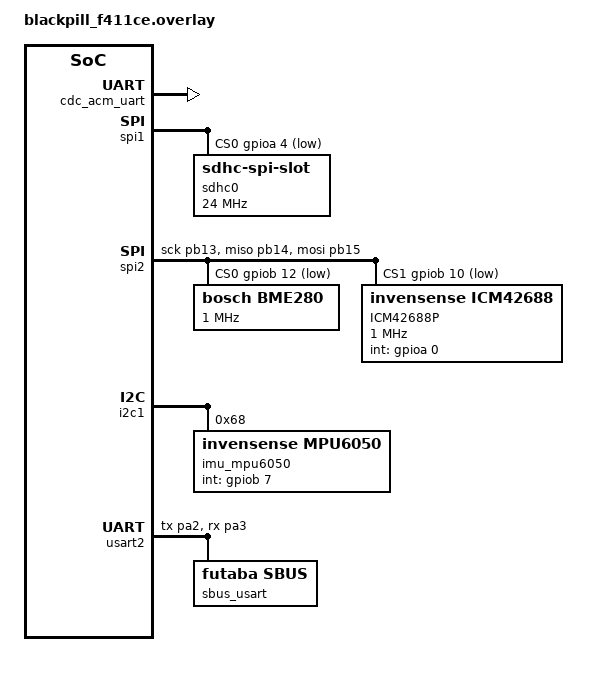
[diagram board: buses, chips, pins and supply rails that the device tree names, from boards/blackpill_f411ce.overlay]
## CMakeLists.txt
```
# This file is part of the efc project <https://github.com/eurus-project/efc/>.
# Copyright (c) (2024 - Present), The efc developers.
#
# This program is free software: you can redistribute it and/or modify
# it under the terms of the GNU General Public License as published by
# the Free Software Foundation, version 3.
#
# This program is distributed in the hope that it will be useful, but
# WITHOUT ANY WARRANTY; without even the implied warranty of
# MERCHANTABILITY or FITNESS FOR A PARTICULAR PURPOSE. See the GNU
# General Public License for more details.
#
# You should have received a copy of the GNU General Public License
# along with this program. If not, see <http://www.gnu.org/licenses/>.

cmake_minimum_required(VERSION 3.20.0)

find_package(Zephyr REQUIRED HINTS $ENV{ZEPHYR_BASE})
project(efc
    VERSION 0.1
    LANGUAGES C
)

target_sources(app
PRIVATE
    src/main.c
    src/radio_receiver.c
    src/telemetry_packer.c
    src/telemetry_sender.c
    src/logger.c
)

target_link_libraries(app
PRIVATE
    ulog
    mavlink
    autopilot
)
```

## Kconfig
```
mainmenu "Eurus Flight Controller"

config APP_DATA_LOGGING_SYNC_INTERVAL
	int "Data logging Sync interval [ms]"
	default 1000
	help
		This configures the interval at which the logging system flushes everything to disk
		and hence determines the maximum duration of data lost on power cuts.

choice APP_PRIMARY_IMU
	prompt "Primary IMU"
	default APP_PRIMARY_IMU_ICM42688P
	help
		This configures Eurus Flight Controller primary IMU.

config APP_PRIMARY_IMU_MPU6050
 	bool "MPU6050"

config APP_PRIMARY_IMU_ICM42688P
	bool "ICM42688P"

endchoice

# MIXER Unmanned aerial vehicle geometrical configuration
menu "Mixer configuration"
    choice
        prompt "Mixer UAV geometrical configuration"
        default MIXER_UAV_QUADROTOR_X

    config MIXER_UAV_QUADROTOR_X
        bool "UAV quadrotor 'X' configuration"

    config MIXER_UAV_QUADROTOR_CROSS
        bool "UAV quadrotor '+' configuration"

    config MIXER_UAV_HEXAROTOR_X
        bool "UAV hexarotor 'X' configuration"

    config MIXER_UAV_HEXAROTOR_CROSS
        bool "UAV hexarotor '+' configuration"

    endchoice
endmenu

# ESC Protocol configuration
menu "ESC Configuration"    
    choice
        prompt "ESC Protocol Selection"
        default ESC_PWM

    config ESC_PWM
        bool "ESC PWM protocol"

    config ESC_ONESHOT_125
        bool "ESC Oneshot125 protocol"

    config ESC_ONESHOT_42
        bool "ESC Oneshot42 protocol"

    config ESC_MULTISHOT
        bool "ESC Multishot protocol"

    endchoice
endmenu

source "../efc/libs/motor_control/esc/Kconfig"

source "../efc/libs/motor_control/mixer/Kconfig"

source "Kconfig.zephyr"
```

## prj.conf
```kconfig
# 
# This file is part of the efc project <https://github.com/eurus-project/efc/>.
# Copyright (c) (2024 - Present), The efc developers.
# 
# This program is free software: you can redistribute it and/or modify
# it under the terms of the GNU General Public License as published by
# the Free Software Foundation, version 3.
# 
# This program is distributed in the hope that it will be useful, but
# WITHOUT ANY WARRANTY; without even the implied warranty of
# MERCHANTABILITY or FITNESS FOR A PARTICULAR PURPOSE. See the GNU
# General Public License for more details.
# 
# You should have received a copy of the GNU General Public License
# along with this program. If not, see <http://www.gnu.org/licenses/>.
#

CONFIG_GPIO=y
CONFIG_SERIAL=y
CONFIG_CONSOLE=y
CONFIG_USB_DEVICE_STACK=y
CONFIG_SPI=y
CONFIG_I2C=y

CONFIG_DEBUG=y

CONFIG_STM32_FLASH_PREFETCH=y
CONFIG_FPU=y

CONFIG_SENSOR=y

CONFIG_DISK_ACCESS=y
CONFIG_DISK_DRIVERS=y
CONFIG_DISK_DRIVER_SDMMC=y

CONFIG_FILE_SYSTEM=y
CONFIG_FILE_SYSTEM_SHELL=y
CONFIG_FILE_SYSTEM_LITTLEFS=y

CONFIG_FS_LITTLEFS_BLK_DEV=y
CONFIG_FS_LITTLEFS_FMP_DEV=n
CONFIG_FS_LITTLEFS_FC_HEAP_SIZE=8192
CONFIG_FS_LITTLEFS_READ_SIZE=512
CONFIG_FS_LITTLEFS_PROG_SIZE=512
CONFIG_FS_LITTLEFS_CACHE_SIZE=512
CONFIG_FS_LITTLEFS_LOOKAHEAD_SIZE=2048
CONFIG_FS_LITTLEFS_BLOCK_CYCLES=-1

CONFIG_MAIN_STACK_SIZE=4096

CONFIG_LOG=y
CONFIG_DEBUG_COREDUMP=y
CONFIG_DEBUG_COREDUMP_BACKEND_LOGGING=y

CONFIG_CBPRINTF_FP_SUPPORT=y

CONFIG_INPUT=y

CONFIG_ZBUS=y

CONFIG_SHELL=y
CONFIG_SHELL_LOG_BACKEND=y

CONFIG_ICM4268X_TRIGGER_OWN_THREAD=y

CONFIG_FLASH=y
CONFIG_NVS=y

CONFIG_PWM=y
CONFIG_ESC=y
CONFIG_MIXER=y
```

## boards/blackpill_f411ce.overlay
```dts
/*
 * This file is part of the efc project <https://github.com/eurus-project/efc/>.
 * Copyright (c) (2024 - Present) The efc developers.
 *
 * This program is free software: you can redistribute it and/or modify
 * it under the terms of the GNU General Public License as published by
 * the Free Software Foundation, version 3.
 *
 * This program is distributed in the hope that it will be useful, but
 * WITHOUT ANY WARRANTY; without even the implied warranty of
 * MERCHANTABILITY or FITNESS FOR A PARTICULAR PURPOSE. See the GNU
 * General Public License for more details.
 *
 * You should have received a copy of the GNU General Public License
 * along with this program. If not, see <http://www.gnu.org/licenses/>.
 */

#include <zephyr/dt-bindings/sensor/icm42688.h>

/ {
	chosen {
		zephyr,console = &cdc_acm_uart;
		zephyr,shell-uart = &cdc_acm_uart;
		telemetry,ground = &usart1;
		futaba,sbus = &sbus_usart;
	};
};

&zephyr_udc0 {
	cdc_acm_uart: cdc_acm_uart0 {
		compatible = "zephyr,cdc-acm-uart";
	};
};

&spi1 {
    cs-gpios = <&gpioa 4 GPIO_ACTIVE_LOW>;

	sdhc0: sdhc@0 {
                compatible = "zephyr,sdhc-spi-slot";
                reg = <0>;
                status = "okay";
                mmc {
                    compatible = "zephyr,sdmmc-disk";
                    disk-name = "SD";
                    status = "okay";
                };
                spi-max-frequency = <24000000>;
        };
};

&spi2 {
    status = "okay";
    pinctrl-0 = <&spi2_sck_pb13 &spi2_miso_pb14 &spi2_mosi_pb15>;
    pinctrl-names = "default";
    cs-gpios = <&gpiob 12 (GPIO_ACTIVE_LOW | GPIO_PULL_UP)>,
               <&gpiob 10 (GPIO_ACTIVE_LOW | GPIO_PULL_UP)>;

    bme280@0 {
        compatible = "bosch,bme280";
        reg = <0>;
        spi-max-frequency = <1000000>;
    };

    imu_icm42688p: icm42688@1 {
        compatible = "invensense,icm42688";
        reg = <1>;
        status = "okay";
        label = "ICM42688P";
        spi-max-frequency = <1000000>;
        int-gpios = <&gpioa 0 GPIO_ACTIVE_HIGH>;
        accel-pwr-mode = <ICM42688_DT_ACCEL_LN>;
        accel-fs = <ICM42688_DT_ACCEL_FS_16>;
        accel-odr = <ICM42688_DT_ACCEL_ODR_50>;
        gyro-pwr-mode= <ICM42688_DT_GYRO_LN>;
        gyro-fs = <ICM42688_DT_GYRO_FS_2000>;
        gyro-odr = <ICM42688_DT_GYRO_ODR_50>;
	};
};

&i2c1 {
	imu_mpu6050: mpu6050@68 {
		compatible = "invensense,mpu6050";
		reg = <0x68>;
		status = "okay";
		int-gpios = <&gpiob 7 GPIO_ACTIVE_HIGH>;
	};
};

&usart2 {
    pinctrl-0 = <&usart2_tx_pa2 &usart2_rx_pa3>;
	pinctrl-names = "default";
	status = "okay";

    sbus_usart: sbus {
        compatible = "futaba,sbus";
        right_stick_x {
            channel = <1>;
            type = <INPUT_EV_ABS>;
            zephyr,code = <INPUT_ABS_RX>;
        };
        right_stick_y {
            channel = <2>;
            type = <INPUT_EV_ABS>;
            zephyr,code = <INPUT_ABS_RY>;
        };
        left_stick_x {
            channel = <3>;
            type = <INPUT_EV_ABS>;
            zephyr,code = <INPUT_ABS_THROTTLE>;
        };
        left_stick_y {
            channel = <4>;
            type = <INPUT_EV_ABS>;
            zephyr,code = <INPUT_ABS_RZ>;
        };
    };
};
```

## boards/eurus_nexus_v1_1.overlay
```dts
/*
 * This file is part of the efc project <https://github.com/eurus-project/efc/>.
 * Copyright (c) 2024 The efc developers.
 *
 * This program is free software: you can redistribute it and/or modify
 * it under the terms of the GNU General Public License as published by
 * the Free Software Foundation, version 3.
 *
 * This program is distributed in the hope that it will be useful, but
 * WITHOUT ANY WARRANTY; without even the implied warranty of
 * MERCHANTABILITY or FITNESS FOR A PARTICULAR PURPOSE. See the GNU
 * General Public License for more details.
 *
 * You should have received a copy of the GNU General Public License
 * along with this program. If not, see <http://www.gnu.org/licenses/>.
 */

/ {
	chosen {
		zephyr,console = &cdc_acm_uart;
        zephyr,shell-uart = &cdc_acm_uart;
		telemetry,ground = &usart1;
        futaba,sbus = &sbus_usart;
	};
};

&spi3 {
    status = "disabled";
};

&spiflash {
    status = "disabled";
};

&adc1 {
    status = "disabled";
};

&timers1 {
    status = "disabled";
};

&timers2 {
    status = "disabled";
};

&timers3 {
    status = "disabled";
};
```

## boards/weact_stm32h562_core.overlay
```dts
/*
 * This file is part of the efc project <https://github.com/eurus-project/efc/>.
 * Copyright (c) 2024 The efc developers.
 *
 * This program is free software: you can redistribute it and/or modify
 * it under the terms of the GNU General Public License as published by
 * the Free Software Foundation, version 3.
 *
 * This program is distributed in the hope that it will be useful, but
 * WITHOUT ANY WARRANTY; without even the implied warranty of
 * MERCHANTABILITY or FITNESS FOR A PARTICULAR PURPOSE. See the GNU
 * General Public License for more details.
 *
 * You should have received a copy of the GNU General Public License
 * along with this program. If not, see <http://www.gnu.org/licenses/>.
 */

#include <zephyr/dt-bindings/sensor/icm42688.h>

/ {
	chosen {
		zephyr,console = &cdc_acm_uart;
        zephyr,shell-uart = &cdc_acm_uart;
		telemetry,ground = &usart1;
        futaba,sbus = &sbus_usart;
	};
};

&zephyr_udc0 {
	cdc_acm_uart: cdc_acm_uart0 {
		compatible = "zephyr,cdc-acm-uart";
	};
};

&spi1 {
    cs-gpios = <&gpioa 4 GPIO_ACTIVE_LOW>;

	sdhc0: sdhc@0 {
                compatible = "zephyr,sdhc-spi-slot";
                reg = <0>;
                status = "okay";
                mmc {
                    compatible = "zephyr,sdmmc-disk";
                    disk-name = "SD";
                    status = "okay";
                };
                spi-max-frequency = <24000000>;
        };
};

&spi2 {
    status = "okay";
    pinctrl-0 = <&spi2_sck_pb10 &spi2_miso_pc2 &spi2_mosi_pc1>;
    pinctrl-names = "default";
    cs-gpios = <&gpiob 0 (GPIO_ACTIVE_LOW | GPIO_PULL_UP)>,
               <&gpioa 1 (GPIO_ACTIVE_LOW | GPIO_PULL_UP)>;

    bme280@0 {
        compatible = "bosch,bme280";
        reg = <0>;
        spi-max-frequency = <1000000>;
    };

    imu_icm42688p: icm42688@1 {
        compatible = "invensense,icm42688";
        reg = <1>;
        status = "okay";
        label = "ICM42688P";
        spi-max-frequency = <1000000>;
        int-gpios = <&gpioc 0 GPIO_ACTIVE_HIGH>;
        accel-pwr-mode = <ICM42688_DT_ACCEL_LN>;
        accel-fs = <ICM42688_DT_ACCEL_FS_16>;
        accel-odr = <ICM42688_DT_ACCEL_ODR_50>;
        gyro-pwr-mode= <ICM42688_DT_GYRO_LN>;
        gyro-fs = <ICM42688_DT_GYRO_FS_2000>;
        gyro-odr = <ICM42688_DT_GYRO_ODR_50>;
	};
};

&i2c1 {
	imu_mpu6050: mpu6050@68 {
		compatible = "invensense,mpu6050";
		reg = <0x68>;
		status = "okay";
		int-gpios = <&gpiob 8 GPIO_ACTIVE_HIGH>;
	};
};

&usart2 {
    pinctrl-0 = <&usart2_tx_pa2 &usart2_rx_pa3>;
	pinctrl-names = "default";
	status = "okay";

    sbus_usart: sbus {
        compatible = "futaba,sbus";
        right_stick_x {
            channel = <1>;
            type = <INPUT_EV_ABS>;
            zephyr,code = <INPUT_ABS_RX>;
        };
        right_stick_y {
            channel = <2>;
            type = <INPUT_EV_ABS>;
            zephyr,code = <INPUT_ABS_RY>;
        };
        left_stick_x {
            channel = <3>;
            type = <INPUT_EV_ABS>;
            zephyr,code = <INPUT_ABS_THROTTLE>;
        };
        left_stick_y {
            channel = <4>;
            type = <INPUT_EV_ABS>;
            zephyr,code = <INPUT_ABS_RZ>;
        };
    };
};
```

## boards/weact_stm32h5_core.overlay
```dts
/*
 * This file is part of the efc project <https://github.com/eurus-project/efc/>.
 * Copyright (c) 2024 The efc developers.
 *
 * This program is free software: you can redistribute it and/or modify
 * it under the terms of the GNU General Public License as published by
 * the Free Software Foundation, version 3.
 *
 * This program is distributed in the hope that it will be useful, but
 * WITHOUT ANY WARRANTY; without even the implied warranty of
 * MERCHANTABILITY or FITNESS FOR A PARTICULAR PURPOSE. See the GNU
 * General Public License for more details.
 *
 * You should have received a copy of the GNU General Public License
 * along with this program. If not, see <http://www.gnu.org/licenses/>.
 */

#include <zephyr/dt-bindings/sensor/icm42688.h>

/ {
	chosen {
		zephyr,console = &cdc_acm_uart;
        zephyr,shell-uart = &cdc_acm_uart;
		telemetry,ground = &usart1;
        futaba,sbus = &sbus_usart;
	};
};

&pll {
	div-q = <6>;
};

&clk_hsi48 {
    status = "okay";
};

&zephyr_udc0 {
	cdc_acm_uart: cdc_acm_uart0 {
		compatible = "zephyr,cdc-acm-uart";
	};
};

&spi1 {
    status = "okay";
    cs-gpios = <&gpioa 4 GPIO_ACTIVE_LOW>;

	sdhc0: sdhc@0 {
                compatible = "zephyr,sdhc-spi-slot";
                reg = <0>;
                status = "okay";
                mmc {
                    compatible = "zephyr,sdmmc-disk";
                    disk-name = "SD_SPI";
                    status = "okay";
                };
                spi-max-frequency = <24000000>;
        };
};

&spi2 {
    status = "okay";
    pinctrl-0 = <&spi2_sck_pb10 &spi2_miso_pc2 &spi2_mosi_pc1>;
    pinctrl-names = "default";
    cs-gpios = <&gpioa 15 (GPIO_ACTIVE_LOW | GPIO_PULL_UP)>,
               <&gpioa 1 (GPIO_ACTIVE_LOW | GPIO_PULL_UP)>;

    bme280@0 {
        compatible = "bosch,bme280";
        reg = <0>;
        spi-max-frequency = <1000000>;
    };

    imu_icm42688p: icm42688@1 {
        compatible = "invensense,icm42688";
        reg = <1>;
        status = "okay";
        label = "ICM42688P";
        spi-max-frequency = <1000000>;
        int-gpios = <&gpioc 0 GPIO_ACTIVE_HIGH>;
        accel-pwr-mode = <ICM42688_DT_ACCEL_LN>;
        accel-fs = <ICM42688_DT_ACCEL_FS_16>;
        accel-odr = <ICM42688_DT_ACCEL_ODR_50>;
        gyro-pwr-mode= <ICM42688_DT_GYRO_LN>;
        gyro-fs = <ICM42688_DT_GYRO_FS_2000>;
        gyro-odr = <ICM42688_DT_GYRO_ODR_50>;
	};
};

&i2c1 {
    pinctrl-0 = <&i2c1_scl_pb6 &i2c1_sda_pb7>;
    pinctrl-names = "default";
    status = "okay";
    clock-frequency = <I2C_BITRATE_FAST>;

    imu_mpu6050: mpu6050@68 {
		compatible = "invensense,mpu6050";
		reg = <0x68>;
		status = "okay";
		int-gpios = <&gpiob 8 GPIO_ACTIVE_HIGH>;
	};
};

&usart2 {
    pinctrl-0 = <&usart2_tx_pa2 &usart2_rx_pa3>;
	pinctrl-names = "default";
	status = "okay";

    sbus_usart: sbus {
        compatible = "futaba,sbus";
        right_stick_x {
            channel = <1>;
            type = <INPUT_EV_ABS>;
            zephyr,code = <INPUT_ABS_RX>;
        };
        right_stick_y {
            channel = <2>;
            type = <INPUT_EV_ABS>;
            zephyr,code = <INPUT_ABS_RY>;
        };
        left_stick_x {
            channel = <3>;
            type = <INPUT_EV_ABS>;
            zephyr,code = <INPUT_ABS_THROTTLE>;
        };
        left_stick_y {
            channel = <4>;
            type = <INPUT_EV_ABS>;
            zephyr,code = <INPUT_ABS_RZ>;
        };
    };
};

&adc1 {
    compatible = "st,stm32-adc";
	st,adc-clock-source = "SYNC";
	st,adc-prescaler = <4>;
    status = "okay";
    
	#address-cells = <1>;
	#size-cells = <0>;

    channel@13 {
        reg = <13>;
		zephyr,gain = "ADC_GAIN_1";
		zephyr,reference = "ADC_REF_INTERNAL";
		zephyr,acquisition-time = <ADC_ACQ_TIME_DEFAULT>;
		zephyr,resolution = <12>;
    };
};
```

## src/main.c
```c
/*
 * This file is part of the efc project <https://github.com/eurus-project/efc/>.
 * Copyright (c) (2024 - Present), The efc developers.
 *
 * This program is free software: you can redistribute it and/or modify
 * it under the terms of the GNU General Public License as published by
 * the Free Software Foundation, version 3.
 *
 * This program is distributed in the hope that it will be useful, but
 * WITHOUT ANY WARRANTY; without even the implied warranty of
 * MERCHANTABILITY or FITNESS FOR A PARTICULAR PURPOSE. See the GNU
 * General Public License for more details.
 *
 * You should have received a copy of the GNU General Public License
 * along with this program. If not, see <http://www.gnu.org/licenses/>.
 */

#include <math.h>
#include <stdio.h>
#include <zephyr/device.h>
#include <zephyr/devicetree.h>
#include <zephyr/drivers/flash.h>
#include <zephyr/drivers/gpio.h>
#include <zephyr/drivers/sensor.h>
#include <zephyr/drivers/uart.h>
#include <zephyr/fs/fs.h>
#include <zephyr/fs/littlefs.h>
#include <zephyr/fs/nvs.h>
#include <zephyr/kernel.h>
#include <zephyr/logging/log.h>
#include <zephyr/storage/flash_map.h>
#include <zephyr/usb/usb_device.h>
#include <zephyr/usb/usbd.h>
#include <zephyr/zbus/zbus.h>

#include "logger.h"
#include "radio_receiver.h"
#include "telemetry_packer.h"
#include "telemetry_sender.h"

#include "autopilot/types.h"
#include "nvs_ids.h"

LOG_MODULE_REGISTER(main);

ZBUS_OBS_DECLARE(logger_sub);
ZBUS_OBS_DECLARE(telemetry_packer_sub);

ZBUS_CHAN_DEFINE(imu_chan, struct imu_6dof_data, NULL, NULL,
                 ZBUS_OBSERVERS(logger_sub, telemetry_packer_sub), {0});

ZBUS_CHAN_DEFINE(baro_chan, struct baro_data, NULL, NULL,
                 ZBUS_OBSERVERS(logger_sub, telemetry_packer_sub), {0});

// This LED simply blinks at an interval, indicating visually that the firmware
// is running If anything causes the whole firmware to abort, it will be
// apparent without looking at log output or hooking up a debugger.
static const struct gpio_dt_spec fw_running_led =
    GPIO_DT_SPEC_GET(DT_ALIAS(led0), gpios);

static struct fs_littlefs main_fs;

struct fs_mount_t main_fs_mount = {
    .type = FS_LITTLEFS,
    .fs_data = &main_fs,
    .flags = FS_MOUNT_FLAG_USE_DISK_ACCESS,
    .storage_dev = "SD_SPI",
    .mnt_point = "/SD:",
};

int32_t boot_count = -1;

static struct nvs_fs nvs;
#define NVS_PARTITION spiflash_partition0
#define NVS_PARTITION_DEVICE FIXED_PARTITION_DEVICE(NVS_PARTITION)
#define NVS_PARTITION_OFFSET FIXED_PARTITION_OFFSET(NVS_PARTITION)
#define NVS_SECTOR_COUNT 4

struct k_pipe telemetry_ground_pipe;
static uint8_t telemetry_ground_pipe_data[1024];

K_THREAD_STACK_DEFINE(radio_thread_stack, 1024);
static struct k_thread radio_thread;

K_THREAD_STACK_DEFINE(telemetry_packer_thread_stack, 2048);
static struct k_thread telemetry_packer_thread;

K_THREAD_STACK_DEFINE(telemetry_sender_thread_stack, 1024);
static struct k_thread telemetry_sender_thread;

K_THREAD_STACK_DEFINE(logger_thread_stack, 8192);
static struct k_thread logger_thread;

#if defined(CONFIG_USB_DEVICE_STACK_NEXT)
static struct usbd_context *sample_usbd;

static int enable_usb_device_next(void) {
    int err;

    sample_usbd = sample_usbd_init_device(NULL);
    if (sample_usbd == NULL) {
        return -ENODEV;
    }

    err = usbd_enable(sample_usbd);
    if (err) {
        return err;
    }

    return 0;
}
#endif /* defined(CONFIG_USB_DEVICE_STACK_NEXT) */

static int process_imu(const struct device *dev) {
    int ret = sensor_sample_fetch(dev);
    if (ret < 0) {
        LOG_ERR("Could not fetch data from IMU!");
        return ret;
    }

    const int64_t timestamp_ms = k_uptime_get();

    struct sensor_value accel[3];
    ret = sensor_channel_get(dev, SENSOR_CHAN_ACCEL_XYZ, accel);
    if (ret < 0) {
        LOG_ERR("Could not get accelerometer data!");
        return ret;
    }

    struct sensor_value gyro[3];
    ret = sensor_channel_get(dev, SENSOR_CHAN_GYRO_XYZ, gyro);
    if (ret < 0) {
        LOG_ERR("Could not get gyroscope data!");
        return ret;
    }

    struct sensor_value temperature;
    ret = sensor_channel_get(dev, SENSOR_CHAN_DIE_TEMP, &temperature);
    if (ret < 0) {
        LOG_WRN("Could not get IMU die temperature data!");
    }

    const struct imu_6dof_data msg = {
        .timestamp_us = timestamp_ms * 1000,
        .accel_mps2[0] = sensor_value_to_float(&accel[0]),
        .accel_mps2[1] = sensor_value_to_float(&accel[1]),
        .accel_mps2[2] = sensor_value_to_float(&accel[2]),
        .gyro_radps[0] = sensor_value_to_float(&gyro[0]),
        .gyro_radps[1] = sensor_value_to_float(&gyro[1]),
        .gyro_radps[2] = sensor_value_to_float(&gyro[2]),
        .temperature_degc = sensor_value_to_float(&temperature),
    };

    ret = zbus_chan_pub(&imu_chan, &msg, K_NO_WAIT);
    if (ret < 0 && ret != -EAGAIN && ret != -EBUSY) {
        LOG_ERR("Failed to send imu message on zbus!");
    }

    return 0;
}

#ifdef CONFIG_ICM4268X_TRIGGER
static void handle_icm42688p_drdy(const struct device *dev,
                                  const struct sensor_trigger *trig) {
    process_imu(dev);
}
#endif

static int process_baro(const struct device *dev) {
    int ret = sensor_sample_fetch(dev);
    if (ret < 0) {
        LOG_ERR("Could not fetch data from barometer!");
        return ret;
    }

    const uint32_t timestamp_ms = k_uptime_get();

    struct sensor_value baro_temp;
    ret = sensor_channel_get(dev, SENSOR_CHAN_AMBIENT_TEMP, &baro_temp);
    if (ret < 0) {
        LOG_ERR("Could not get barometer temperature data!");
        return ret;
    }

    struct sensor_value baro_press;
    ret = sensor_channel_get(dev, SENSOR_CHAN_PRESS, &baro_press);
    if (ret < 0) {
        LOG_ERR("Could not get barometer pressure data!");
        return ret;
    }

    const struct baro_data msg = {
        .timestamp_us = timestamp_ms * 1000,
        .temperature_degc = sensor_value_to_float(&baro_temp),
        .pressure_kpa = sensor_value_to_float(&baro_press),
    };

    ret = zbus_chan_pub(&baro_chan, &msg, K_NO_WAIT);
    if (ret < 0 && ret != -EAGAIN && ret != -EBUSY) {
        LOG_ERR("Failed to send baro message on zbus!");
    }

    return 0;
}

static int update_boot_count(struct nvs_fs *nvs) {
    ssize_t ret =
        nvs_read(nvs, NVS_BOOT_COUNT_ID, &boot_count, sizeof(boot_count));
    if (ret == sizeof(boot_count) && boot_count >= 0) { // Item found
        boot_count++; // Increment boot_count if found, if not write zero
    } else {
        // Try to initialize boot_count if it is first write to NVS
        boot_count = 0;
        ret =
            nvs_write(nvs, NVS_BOOT_COUNT_ID, &boot_count, sizeof(boot_count));
        if (ret < 0) {
            LOG_ERR("Error in writting initial boot_count in NVS: %d", ret);
            return ret;
        }

        ret = nvs_read(nvs, NVS_BOOT_COUNT_ID, &boot_count, sizeof(boot_count));
        if (ret == sizeof(boot_count) && boot_count == 0) {
            LOG_INF("NVS successfully initialized boot_count!");
        } else {
            LOG_ERR("NVS failed to initialize boot_count: %d", ret);
            return ret;
        }
    }

    LOG_INF("boot_count: ID = %d, Value = %d\n", NVS_BOOT_COUNT_ID, boot_count);
    ret = nvs_write(nvs, NVS_BOOT_COUNT_ID, &boot_count, sizeof(boot_count));
    if (ret < 0) {
        LOG_ERR("Error in writting initial boot_count!");
    }
    return ret;
}

int main(void) {
    if (DT_NODE_HAS_COMPAT(DT_CHOSEN(zephyr_console), zephyr_cdc_acm_uart)) {
#if defined(CONFIG_USB_DEVICE_STACK_NEXT)
        if (enable_usb_device_next()) {
            return 0;
        }
#else
        if (usb_enable(NULL)) {
            return 0;
        }
#endif
    }

    if (!gpio_is_ready_dt(&fw_running_led)) {
        LOG_ERR("The firmware running LED is not ready");
        return 0;
    }

    int ret;
    ret = gpio_pin_configure_dt(&fw_running_led, GPIO_OUTPUT_ACTIVE);
    if (ret < 0) {
        LOG_ERR("Could not configure the firmware running LED as output");
        return 0;
    }

    bool main_imu_using_trigger = false;

#if CONFIG_APP_PRIMARY_IMU_MPU6050
    const struct device *const main_imu =
        DEVICE_DT_GET(DT_NODELABEL(imu_mpu6050));
#elif CONFIG_APP_PRIMARY_IMU_ICM42688P
    const struct device *const main_imu =
        DEVICE_DT_GET(DT_NODELABEL(imu_icm42688p));

#ifdef CONFIG_ICM4268X_TRIGGER
    struct sensor_trigger icm42688p_trigger = {.type = SENSOR_TRIG_DATA_READY,
                                               .chan = SENSOR_CHAN_ALL};

    ret =
        sensor_trigger_set(main_imu, &icm42688p_trigger, handle_icm42688p_drdy);
    if (ret < 0) {
        LOG_ERR("Could not configure IMU trigger.\n");
        return 0;
    }

    main_imu_using_trigger = true;
#endif
#else
    LOG_ERR("IMU Device not selected!");
    return 0;
#endif

    if (!device_is_ready(main_imu)) {
        LOG_ERR("Device %s is not ready\n", main_imu->name);
        return 0;
    }

    const struct device *const main_baro = DEVICE_DT_GET_ANY(bosch_bme280);

    if (!device_is_ready(main_baro)) {
        printk("Device %s is not ready\n", main_baro->name);
        return 0;
    }

    ret = fs_mount(&main_fs_mount);
    if (ret < 0) {
        LOG_ERR("Could not mount filesystem!\n");
    }

    // Configure NVS
    struct flash_pages_info nvs_info;

    nvs.flash_device = NVS_PARTITION_DEVICE;
    if (!device_is_ready(nvs.flash_device)) {
        LOG_ERR("Flash device not ready!");
        return 0;
    }

    nvs.offset = NVS_PARTITION_OFFSET;
    ret = flash_get_page_info_by_offs(nvs.flash_device, nvs.offset, &nvs_info);
    if (ret) {
        LOG_ERR("Unable to get page info, error: %d\n", ret);
        return 0;
    }

    nvs.sector_size = nvs_info.size;
    nvs.sector_count = NVS_SECTOR_COUNT;

    ret = nvs_mount(&nvs);
    if (ret) {
        LOG_ERR("Flash init failed, error: %d\n", ret);
        return 0;
    }

    ret = update_boot_count(&nvs);
    if (ret < 0) {
        LOG_ERR("Could not update boot count!");
    }

    k_pipe_init(&telemetry_ground_pipe, telemetry_ground_pipe_data,
                sizeof(telemetry_ground_pipe_data));

    k_thread_create(&radio_thread, radio_thread_stack,
                    K_THREAD_STACK_SIZEOF(radio_thread_stack), radio_receiver,
                    NULL, NULL, NULL, 0, 0, K_NO_WAIT);

    k_thread_create(&telemetry_sender_thread, telemetry_sender_thread_stack,
                    K_THREAD_STACK_SIZEOF(telemetry_sender_thread_stack),
                    telemetry_sender, NULL, NULL, NULL,
                    K_LOWEST_APPLICATION_THREAD_PRIO - 2, 0, K_NO_WAIT);

    k_thread_create(&telemetry_packer_thread, telemetry_packer_thread_stack,
                    K_THREAD_STACK_SIZEOF(telemetry_packer_thread_stack),
                    telemetry_packer, NULL, NULL, NULL,
                    K_LOWEST_APPLICATION_THREAD_PRIO - 1, 0, K_NO_WAIT);

    k_thread_create(&logger_thread, logger_thread_stack,
                    K_THREAD_STACK_SIZEOF(logger_thread_stack), logger, NULL,
                    NULL, NULL, K_LOWEST_APPLICATION_THREAD_PRIO, 0, K_NO_WAIT);

    while (1) {
        ret = gpio_pin_toggle_dt(&fw_running_led);
        if (ret < 0) {
            LOG_ERR("Could not toggle the firmware running LED");
            return 0;
        }

        if (!main_imu_using_trigger) {
            process_imu(main_imu);
        }

        process_baro(main_baro);

        k_msleep(1000);
    }

    return 0;
}
```

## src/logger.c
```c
/*
 * This file is part of the efc project <https://github.com/eurus-project/efc/>.
 * Copyright (c) (2024 - Present), The efc developers.
 *
 * This program is free software: you can redistribute it and/or modify
 * it under the terms of the GNU General Public License as published by
 * the Free Software Foundation, version 3.
 *
 * This program is distributed in the hope that it will be useful, but
 * WITHOUT ANY WARRANTY; without even the implied warranty of
 * MERCHANTABILITY or FITNESS FOR A PARTICULAR PURPOSE. See the GNU
 * General Public License for more details.
 *
 * You should have received a copy of the GNU General Public License
 * along with this program. If not, see <http://www.gnu.org/licenses/>.
 */

#include <math.h>
#include <zephyr/device.h>
#include <zephyr/fs/fs.h>
#include <zephyr/fs/littlefs.h>
#include <zephyr/kernel.h>
#include <zephyr/logging/log.h>
#include <zephyr/zbus/zbus.h>

#include "ulog.h"
#include "ulog_accel.h"
#include "ulog_altitude.h"
#include "ulog_baro.h"
#include "ulog_gyro.h"

#include "autopilot/types.h"

LOG_MODULE_REGISTER(logger);

ZBUS_CHAN_DECLARE(imu_chan);
ZBUS_CHAN_DECLARE(baro_chan);

ZBUS_CHAN_DEFINE(sync_chan, bool, NULL, NULL, ZBUS_OBSERVERS(logger_sub), 0);

ZBUS_SUBSCRIBER_DEFINE_WITH_ENABLE(logger_sub, 16, false);

// Value derrived from BMP280 datasheet (page 15 of 49) for the given sensor
// configuration.
#define BMP280_ALTITUDE_VARIANCE_M .017f

#define ALTITUDE_SOURCE_TYPE_BARO 1

extern int32_t boot_count;

extern struct fs_mount_t main_fs_mount;

static struct k_timer sync_timer;

static ULOG_Inst_Type ulog_log;

static uint16_t gyro_msg_id = 0;
static uint16_t accel_msg_id = 0;
static uint16_t baro_msg_id = 0;
static uint16_t baro_alt_msg_id = 0;

static void sync_notify(struct k_timer *timer_id) {
    int ret = zbus_chan_notify(&sync_chan, K_NO_WAIT);
    if (ret < 0) {
        LOG_ERR("Could not notify logger to sync!");
    }
}

void logger(void *dummy1, void *dummy2, void *dummy3) {
    char filename[LFS_NAME_MAX] = {0};

    if (boot_count >= 0) {
        snprintf(filename, sizeof(filename), "%s/log_%d.ulg",
                 main_fs_mount.mnt_point, (int)boot_count);
    } else {
        LOG_WRN("No boot count, logging to log_tmp.ulg!");
        snprintf(filename, sizeof(filename), "%s/log_tmp.ulg",
                 main_fs_mount.mnt_point);
    }

    ULOG_Config_Type log_cfg = {
        .filename = filename,
    };

    if (ULOG_Init(&ulog_log, &log_cfg) != ULOG_SUCCESS) {
        LOG_ERR("Could not open log! Proceeding without logging.");
        zbus_obs_set_enable(&logger_sub, false);
        return;
    }

    if (ULOG_Gyro_RegisterFormat(&ulog_log) != ULOG_SUCCESS) {
        LOG_ERR("Could not register ULOG gyro format!");
    }

    if (ULOG_Accel_RegisterFormat(&ulog_log) != ULOG_SUCCESS) {
        LOG_ERR("Could not register ULOG accel format!");
    }

    if (ULOG_Baro_RegisterFormat(&ulog_log) != ULOG_SUCCESS) {
        LOG_ERR("Could not register ULOG baro format!");
    }

    if (ULOG_Altitude_RegisterFormat(&ulog_log) != ULOG_SUCCESS) {
        LOG_ERR("Could not register ULOG altitude format!");
    }

    const char alt_src_type_baro_key[] = "int32_t ALTITUDE_SOURCE_TYPE_BARO";
    const int32_t alt_src_type_baro = ALTITUDE_SOURCE_TYPE_BARO;
    if (ULOG_AddParameter(&ulog_log, alt_src_type_baro_key,
                          strlen(alt_src_type_baro_key), &alt_src_type_baro)) {
        LOG_ERR("Could not write Altitude Source Type Baro parameter!");
    }

    const char sys_name_key[] = "char[3] sys_name";
    const char sys_name[] = "EFC";
    if (ULOG_AddInfo(&ulog_log, sys_name_key, strlen(sys_name_key), sys_name,
                     strlen(sys_name))) {
        LOG_ERR("Could not system name info to the log!");
    }

#if CONFIG_APP_PRIMARY_IMU_MPU6050
    const char main_imu_name_key[] = "char[7] main_imu_name";
    const char main_imu_name[] = "MPU6050";
#elif CONFIG_APP_PRIMARY_IMU_ICM42688P
    const char main_imu_name_key[] = "char[9] main_imu_name";
    const char main_imu_name[] = "ICM42688P";
#endif
    if (ULOG_AddInfo(&ulog_log, main_imu_name_key, strlen(main_imu_name_key),
                     main_imu_name, strlen(main_imu_name))) {
        LOG_ERR("Could not main IMU info to the log!");
    }

    const char main_baro_name_key[] = "char[6] main_baro_name";
    const char main_baro_name[] = "BMP280";
    if (ULOG_AddInfo(&ulog_log, main_baro_name_key, strlen(main_baro_name_key),
                     main_baro_name, strlen(main_baro_name))) {
        LOG_ERR("Could not write main baro info to the log!");
    }

    if (ULOG_StartDataPhase(&ulog_log) != ULOG_SUCCESS) {
        LOG_ERR("Could not start ULOG data phase!");
    }

    if (ULOG_Gyro_Subscribe(&ulog_log, 0, &gyro_msg_id) != ULOG_SUCCESS) {
        LOG_ERR("Could not subscribe ULOG log to gyro message!");
    }

    if (ULOG_Accel_Subscribe(&ulog_log, 0, &accel_msg_id) != ULOG_SUCCESS) {
        LOG_ERR("Could not subscribe ULOG log to accel message!");
    }

    if (ULOG_Baro_Subscribe(&ulog_log, 0, &baro_msg_id) != ULOG_SUCCESS) {
        LOG_ERR("Could not subscribe ULog baro message!");
    }

    if (ULOG_Altitude_Subscribe(&ulog_log, 0, &baro_alt_msg_id) !=
        ULOG_SUCCESS) {
        LOG_ERR("Could not subscribe ULog altitude message!");
    }

    k_timer_init(&sync_timer, sync_notify, NULL);
    k_timer_start(&sync_timer, K_MSEC(CONFIG_APP_DATA_LOGGING_SYNC_INTERVAL),
                  K_MSEC(CONFIG_APP_DATA_LOGGING_SYNC_INTERVAL));

    zbus_obs_set_enable(&logger_sub, true);

    while (true) {
        const struct zbus_channel *chan;
        int ret = zbus_sub_wait(&logger_sub, &chan, K_FOREVER);
        if (ret < 0) {
            LOG_ERR("Could not wait on the logger subscriber, aborting.");
            return;
        }

        if (chan == &imu_chan) {
            struct imu_6dof_data msg;
            ret = zbus_chan_read(chan, &msg, K_USEC(1));
            if (ret < 0) {
                LOG_ERR("Failed to read from logger subscriber!");
            }

            ULOG_Gyro_Type gyro_msg = {
                .timestamp = msg.timestamp_us,
                .x = msg.gyro_radps[0],
                .y = msg.gyro_radps[1],
                .z = msg.gyro_radps[2],
            };
            ULOG_Gyro_Write(&ulog_log, &gyro_msg, gyro_msg_id);

            ULOG_Accel_Type accel_msg = {
                .timestamp = msg.timestamp_us,
                .x = msg.accel_mps2[0],
                .y = msg.accel_mps2[1],
                .z = msg.accel_mps2[2],
            };
            ULOG_Accel_Write(&ulog_log, &accel_msg, accel_msg_id);

        } else if (chan == &baro_chan) {
            struct baro_data msg;
            ret = zbus_chan_read(chan, &msg, K_USEC(1));
            if (ret < 0) {
                LOG_ERR("Failed to read from logger subscriber!");
            }

            ULOG_Baro_Type baro_msg = {
                .timestamp = msg.timestamp_us,
                .temperature = msg.temperature_degc,
                .pressure = msg.pressure_kpa,
            };

            ULOG_Baro_Write(&ulog_log, &baro_msg, baro_msg_id);

            const float altitude =
                44330.0f *
                (1.0f - powf((msg.pressure_kpa / 101.325f), 1.0f / 5.255f));

            ULOG_Altitude_Type altitude_msg = {
                .timestamp = msg.timestamp_us,
                .source = ALTITUDE_SOURCE_TYPE_BARO,
                .altitude = altitude,
                .variance = BMP280_ALTITUDE_VARIANCE_M};

            ULOG_Altitude_Write(&ulog_log, &altitude_msg, baro_alt_msg_id);
        } else if (chan == &sync_chan) {
            ULOG_Sync(&ulog_log);
        }
    }
}
```

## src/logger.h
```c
/*
 * This file is part of the efc project <https://github.com/eurus-project/efc/>.
 * Copyright (c) (2025 - Present), The efc developers.
 *
 * This program is free software: you can redistribute it and/or modify
 * it under the terms of the GNU General Public License as published by
 * the Free Software Foundation, version 3.
 *
 * This program is distributed in the hope that it will be useful, but
 * WITHOUT ANY WARRANTY; without even the implied warranty of
 * MERCHANTABILITY or FITNESS FOR A PARTICULAR PURPOSE. See the GNU
 * General Public License for more details.
 *
 * You should have received a copy of the GNU General Public License
 * along with this program. If not, see <http://www.gnu.org/licenses/>.
 */

void logger(void *dummy1, void *dummy2, void *dummy3);
```

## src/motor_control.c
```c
/*
 * This file is part of the efc project <https://github.com/eurus-project/efc/>.
 * Copyright (c) (2024 - Present), The efc developers.
 *
 * This program is free software: you can redistribute it and/or modify
 * it under the terms of the GNU General Public License as published by
 * the Free Software Foundation, version 3.
 *
 * This program is distributed in the hope that it will be useful, but
 * WITHOUT ANY WARRANTY; without even the implied warranty of
 * MERCHANTABILITY or FITNESS FOR A PARTICULAR PURPOSE. See the GNU
 * General Public License for more details.
 *
 * You should have received a copy of the GNU General Public License
 * along with this program. If not, see <http://www.gnu.org/licenses/>.
 */

#include "motor_control.h"
#include "esc.h"
#include "mixer.h"
#include "radio_receiver.h"
#include <zephyr/input/input.h>
#include <zephyr/kernel.h>
#include <zephyr/logging/log.h>

LOG_MODULE_REGISTER(motor_control);

extern struct k_msgq sbus_msgq;

void motor_control(void *dummy1, void *dummy2, void *dummy3) {
    ESC_Error_Type status;
    ESC_Inst_Type esc1, esc2, esc3, esc4;
    ESC_Protocol_Type protocol;

    MIXER_Inst_Type mixer;
    MIXER_UAV_Cfg_Type mixer_uav_geom_cfg;

    MIXER_Raw_Input_Type raw_receiver_input = {0};

#if CONFIG_ESC_PWM
    protocol = ESC_PWM;
#elif CONFIG_ESC_ONESHOT_125
    protocol = ESC_ONESHOT_125;
#elif CONFIG_ESC_ONESHOT_42
    protocol = ESC_ONESHOT_42;
#elif CONFIG_ESC_MULTISHOT
    protocol = ESC_MULTISHOT;
#endif

    const struct device *pwm_dev = DEVICE_DT_GET(DT_NODELABEL(pwm3));

    if (!device_is_ready(pwm_dev))
        return;

    status = ESC_Init(&esc1, pwm_dev, 1, protocol);
    if (status != ESC_SUCCESS)
        return;
    status = ESC_Init(&esc2, pwm_dev, 2, protocol);
    if (status != ESC_SUCCESS)
        return;
    status = ESC_Init(&esc3, pwm_dev, 3, protocol);
    if (status != ESC_SUCCESS)
        return;
    status = ESC_Init(&esc4, pwm_dev, 4, protocol);
    if (status != ESC_SUCCESS)
        return;

    status = ESC_Arm(&esc1);
    if (status != ESC_SUCCESS)
        return;
    status = ESC_Arm(&esc2);
    if (status != ESC_SUCCESS)
        return;
    status = ESC_Arm(&esc3);
    if (status != ESC_SUCCESS)
        return;
    status = ESC_Arm(&esc4);
    if (status != ESC_SUCCESS)
        return;

#if CONFIG_MIXER_UAV_QUADROTOR_X
    mixer_uav_geom_cfg = MIXER_UAV_CFG_QUADROTOR_X;
#elif CONFIG_MIXER_UAV_QUADROTOR_CROSS
    mixer_uav_geom_cfg = MIXER_UAV_CFG_QUADROTOR_CROSS;
#elif CONFIG_MIXER_UAV_HEXAROTOR_X
    mixer_uav_geom_cfg = MIXER_UAV_CFG_HEXAROTOR_X;
#elif CONFIG_MIXER_UAV_HEXAROTOR_CROSS
    mixer_uav_geom_cfg = MIXER_UAV_CFG_HEXAROTOR_CROSS;
#endif

    if (MIXER_AddMotorInstance(&mixer, &esc1) != MIXER_SUCCESS)
        return;
    if (MIXER_AddMotorInstance(&mixer, &esc2) != MIXER_SUCCESS)
        return;
    if (MIXER_AddMotorInstance(&mixer, &esc3) != MIXER_SUCCESS)
        return;
    if (MIXER_AddMotorInstance(&mixer, &esc4) != MIXER_SUCCESS)
        return;

    if (MIXER_Init(&mixer, mixer_uav_geom_cfg) != MIXER_SUCCESS)
        return;

    while (true) {
        k_msgq_get(&sbus_msgq, &raw_receiver_input, K_MSEC(50));

        // Update anyway, even if values are not updated
        MIXER_Execute(&mixer, &raw_receiver_input);
    }
}
```

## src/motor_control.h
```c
/*
 * This file is part of the efc project <https://github.com/eurus-project/efc/>.
 * Copyright (c) (2024 - Present), The efc developers.
 *
 * This program is free software: you can redistribute it and/or modify
 * it under the terms of the GNU General Public License as published by
 * the Free Software Foundation, version 3.
 *
 * This program is distributed in the hope that it will be useful, but
 * WITHOUT ANY WARRANTY; without even the implied warranty of
 * MERCHANTABILITY or FITNESS FOR A PARTICULAR PURPOSE. See the GNU
 * General Public License for more details.
 *
 * You should have received a copy of the GNU General Public License
 * along with this program. If not, see <http://www.gnu.org/licenses/>.
 */

#ifndef MOTOR_CONTROL_H
#define MOTOR_CONTROL_H

void motor_control(void *dummy1, void *dummy2, void *dummy3);

#endif
```

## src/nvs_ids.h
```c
/*
 * This file is part of the efc project <https://github.com/eurus-project/efc/>.
 * Copyright (c) (2025 - Present), The efc developers.
 *
 * This program is free software: you can redistribute it and/or modify
 * it under the terms of the GNU General Public License as published by
 * the Free Software Foundation, version 3.
 *
 * This program is distributed in the hope that it will be useful, but
 * WITHOUT ANY WARRANTY; without even the implied warranty of
 * MERCHANTABILITY or FITNESS FOR A PARTICULAR PURPOSE. See the GNU
 * General Public License for more details.
 *
 * You should have received a copy of the GNU General Public License
 * along with this program. If not, see <http://www.gnu.org/licenses/>.
 */

#ifndef NVS_IDS_H
#define NVS_IDS_H

#define NVS_BOOT_COUNT_ID 1

#endif // NVS_IDS_H
```

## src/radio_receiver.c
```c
/*
 * This file is part of the efc project <https://github.com/eurus-project/efc/>.
 * Copyright (c) (2025 - Present), The efc developers.
 *
 * This program is free software: you can redistribute it and/or modify
 * it under the terms of the GNU General Public License as published by
 * the Free Software Foundation, version 3.
 *
 * This program is distributed in the hope that it will be useful, but
 * WITHOUT ANY WARRANTY; without even the implied warranty of
 * MERCHANTABILITY or FITNESS FOR A PARTICULAR PURPOSE. See the GNU
 * General Public License for more details.
 *
 * You should have received a copy of the GNU General Public License
 * along with this program. If not, see <http://www.gnu.org/licenses/>.
 */

#include <zephyr/input/input.h>
#include <zephyr/kernel.h>
#include <zephyr/logging/log.h>

#include "radio_receiver.h"

struct radio_receiver_data {
    int32_t roll_rate;
    int32_t pitch_rate;
    int32_t throttle;
    int32_t yaw_rate;
};

LOG_MODULE_REGISTER(radio_receiver);

static const struct device *const sbus_dev =
    DEVICE_DT_GET(DT_CHOSEN(futaba_sbus));
static struct radio_receiver_data receiver_data;

K_MSGQ_DEFINE(sbus_msgq, sizeof(struct radio_receiver_data), 10, 1);

static void sbus_event_callback(struct input_event *evt, void *user_data) {
    switch (evt->code) {
    case INPUT_ABS_RX:
        receiver_data.roll_rate = evt->value;
        break;
    case INPUT_ABS_RY:
        receiver_data.pitch_rate = evt->value;
        break;
    case INPUT_ABS_THROTTLE:
        receiver_data.throttle = evt->value;
        break;
    case INPUT_ABS_RZ:
        receiver_data.yaw_rate = evt->value;
        break;
    default:
        break;
    }

    if (evt->sync) {
        k_msgq_put(&sbus_msgq, &receiver_data, K_NO_WAIT);
    }
}

INPUT_CALLBACK_DEFINE(sbus_dev, sbus_event_callback, NULL);

void radio_receiver(void *dummy1, void *dummy2, void *dummy3) {
    ARG_UNUSED(dummy1);
    ARG_UNUSED(dummy2);
    ARG_UNUSED(dummy3);

    struct radio_receiver_data read_data;

    if (!device_is_ready(sbus_dev)) {
        LOG_ERR("Radio receiver not found, device operation will proceed "
                "without receiver!");
        return;
    }

    while (true) {
        k_msgq_get(&sbus_msgq, &read_data, K_FOREVER);

        LOG_INF("Received SBUS data:\n"
                "THR: %d, PITCH_RATE: %d, ROLL_RATE: %d, YAW_RATE: %d\n",
                read_data.throttle, read_data.pitch_rate, read_data.roll_rate,
                read_data.yaw_rate);
    }
}
```

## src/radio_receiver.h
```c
/*
 * This file is part of the efc project <https://github.com/eurus-project/efc/>.
 * Copyright (c) (2025 - Present), The efc developers.
 *
 * This program is free software: you can redistribute it and/or modify
 * it under the terms of the GNU General Public License as published by
 * the Free Software Foundation, version 3.
 *
 * This program is distributed in the hope that it will be useful, but
 * WITHOUT ANY WARRANTY; without even the implied warranty of
 * MERCHANTABILITY or FITNESS FOR A PARTICULAR PURPOSE. See the GNU
 * General Public License for more details.
 *
 * You should have received a copy of the GNU General Public License
 * along with this program. If not, see <http://www.gnu.org/licenses/>.
 */

void radio_receiver(void *dummy1, void *dummy2, void *dummy3);
```

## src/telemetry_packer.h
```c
/*
 * This file is part of the efc project <https://github.com/eurus-project/efc/>.
 * Copyright (c) (2025 - Present), The efc developers.
 *
 * This program is free software: you can redistribute it and/or modify
 * it under the terms of the GNU General Public License as published by
 * the Free Software Foundation, version 3.
 *
 * This program is distributed in the hope that it will be useful, but
 * WITHOUT ANY WARRANTY; without even the implied warranty of
 * MERCHANTABILITY or FITNESS FOR A PARTICULAR PURPOSE. See the GNU
 * General Public License for more details.
 *
 * You should have received a copy of the GNU General Public License
 * along with this program. If not, see <http://www.gnu.org/licenses/>.
 */

void telemetry_packer(void *dummy1, void *dummy2, void *dummy3);
```

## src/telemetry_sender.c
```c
/*
 * This file is part of the efc project <https://github.com/eurus-project/efc/>.
 * Copyright (c) (2025 - Present), The efc developers.
 *
 * This program is free software: you can redistribute it and/or modify
 * it under the terms of the GNU General Public License as published by
 * the Free Software Foundation, version 3.
 *
 * This program is distributed in the hope that it will be useful, but
 * WITHOUT ANY WARRANTY; without even the implied warranty of
 * MERCHANTABILITY or FITNESS FOR A PARTICULAR PURPOSE. See the GNU
 * General Public License for more details.
 *
 * You should have received a copy of the GNU General Public License
 * along with this program. If not, see <http://www.gnu.org/licenses/>.
 */

#include <zephyr/device.h>
#include <zephyr/drivers/uart.h>
#include <zephyr/kernel.h>
#include <zephyr/logging/log.h>

#include "telemetry_sender.h"

LOG_MODULE_REGISTER(telemetry_sender);

extern struct k_pipe telemetry_ground_pipe;
static const struct device *const ground_telemetry_uart =
    DEVICE_DT_GET(DT_CHOSEN(telemetry_ground));

void telemetry_sender(void *dummy1, void *dummy2, void *dummy3) {
    if (!device_is_ready(ground_telemetry_uart)) {
        LOG_ERR("Ground telemetry UART device not found, device operation will "
                "proceed without telemetry!");
        return;
    }

    while (true) {
        uint8_t read_byte;

        int ret = k_pipe_read(&telemetry_ground_pipe, &read_byte,
                              sizeof(read_byte), K_FOREVER);

        if (ret > 0) {
            uart_poll_out(ground_telemetry_uart, read_byte);
        } else {
            LOG_ERR("Could not read from telemetry pipe!");
        }
    }
}
```

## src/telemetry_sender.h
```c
/*
 * This file is part of the efc project <https://github.com/eurus-project/efc/>.
 * Copyright (c) (2025 - Present), The efc developers.
 *
 * This program is free software: you can redistribute it and/or modify
 * it under the terms of the GNU General Public License as published by
 * the Free Software Foundation, version 3.
 *
 * This program is distributed in the hope that it will be useful, but
 * WITHOUT ANY WARRANTY; without even the implied warranty of
 * MERCHANTABILITY or FITNESS FOR A PARTICULAR PURPOSE. See the GNU
 * General Public License for more details.
 *
 * You should have received a copy of the GNU General Public License
 * along with this program. If not, see <http://www.gnu.org/licenses/>.
 */

void telemetry_sender(void *dummy1, void *dummy2, void *dummy3);
```

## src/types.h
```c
/*
 * This file is part of the efc project <https://github.com/eurus-project/efc/>.
 * Copyright (c) (2025 - Present), The efc developers.
 *
 * This program is free software: you can redistribute it and/or modify
 * it under the terms of the GNU General Public License as published by
 * the Free Software Foundation, version 3.
 *
 * This program is distributed in the hope that it will be useful, but
 * WITHOUT ANY WARRANTY; without even the implied warranty of
 * MERCHANTABILITY or FITNESS FOR A PARTICULAR PURPOSE. See the GNU
 * General Public License for more details.
 *
 * You should have received a copy of the GNU General Public License
 * along with this program. If not, see <http://www.gnu.org/licenses/>.
 */

#include <stdint.h>

struct imu_6dof_data {
    uint64_t timestamp_us;
    float temperature_degc;
    float accel_mps2[3];
    float gyro_radps[3];
};

struct baro_data {
    uint64_t timestamp_us;
    float temperature_degc;
    float pressure_kpa;
};
```
